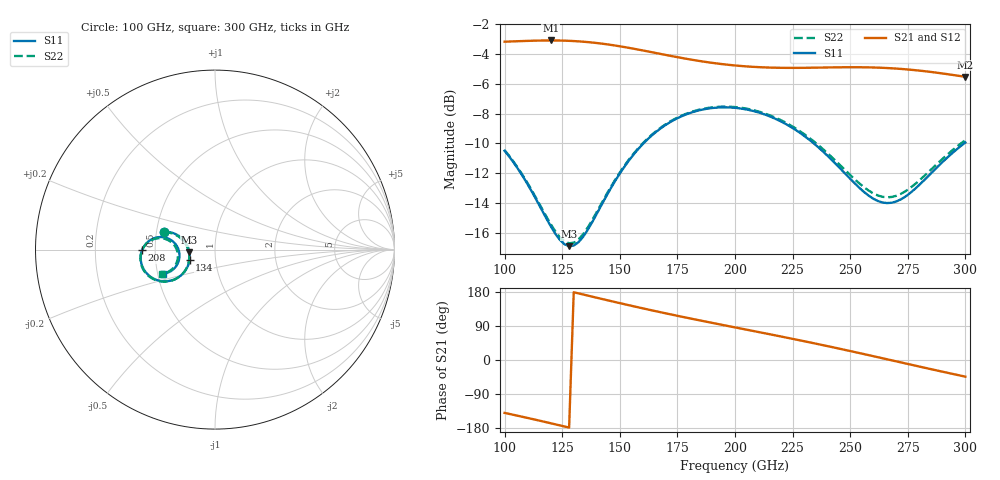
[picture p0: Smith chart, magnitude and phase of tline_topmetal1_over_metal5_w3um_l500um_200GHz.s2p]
#  GHZ S DB R 50
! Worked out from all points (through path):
!   101 points, 100 GHz to 300 GHz, reference 50 ohm
!   highest |S21| = -3.10 dB at 120 GHz (marker M1); lowest = -5.5 dB at 300 GHz (marker M2)
!   group delay of S21, straight-line fit = 3.62 ps
!   lowest |S11| = -16.9 dB at 128 GHz (marker M3), VSWR 1.33, Z = 37.5 - j1.2 ohm
!   |S11| at or under -10 dB: start of sweep to 160.3 GHz; 234.2 GHz to 299.5 GHz (65.29 GHz wide, 24.5 % of centre)
!   |S22| runs from -16.7 to -7.5 dB; largest |S21 - S12| = 8e-14
!   S11 on the Smith chart (normalised r, x): 100 GHz: 0.55, +0.12; 134 GHz: 0.75, -0.09; 208 GHz: 0.42, -0.00; 300 GHz: 0.54, -0.16
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100  -10.49 160.5  -3.18 -139.6  -3.18 -139.6  -10.45 161.2
110  -12.74 158.6  -3.13 -153.0  -3.13 -153.0  -12.67 159.5
120  -15.54 167.1  -3.10 -166.9  -3.10 -166.9  -15.40 168.0
124  -16.46 175.4  -3.11 -172.6  -3.11 -172.6  -16.29 176.2
128  -16.88 -173.7  -3.13 -178.3  -3.13 -178.3  -16.69 -173.2
134  -16.27 -157.6  -3.18 173.0  -3.18 173.0  -16.10 -157.6
142  -14.14 -145.4  -3.31 161.5  -3.31 161.5  -14.03 -145.5
152  -11.56 -143.1  -3.54 147.3  -3.54 147.3  -11.50 -143.0
160  -10.04 -146.1  -3.77 136.3  -3.77 136.3  -9.99 -145.9
168  -8.96 -150.9  -4.01 125.7  -4.01 125.7  -8.92 -150.7
184  -7.80 -162.5  -4.46 105.4  -4.46 105.4  -7.76 -162.0
200  -7.62 -174.1  -4.78 86.1  -4.78 86.1  -7.56 -173.4
208  -7.83 -179.6  -4.87 76.5  -4.87 76.5  -7.77 -178.7
222  -8.69 172.1  -4.94 59.5  -4.94 59.5  -8.61 173.2
234  -9.97 167.3  -4.93 44.5  -4.93 44.5  -9.84 168.6
252  -12.68 170.0  -4.89 21.0  -4.89 21.0  -12.40 171.4
260  -13.70 177.8  -4.91 10.1  -4.91 10.1  -13.34 178.8
268  -13.97 -171.2  -4.97 -0.8  -4.97 -0.8  -13.59 -170.9
274  -13.56 -163.5  -5.03 -9.1  -5.03 -9.1  -13.20 -163.7
282  -12.48 -156.6  -5.16 -20.0  -5.16 -20.0  -12.20 -157.2
292  -10.97 -153.9  -5.36 -33.4  -5.36 -33.4  -10.77 -154.6
300  -9.94 -155.1  -5.54 -43.9  -5.54 -43.9  -9.78 -155.6
